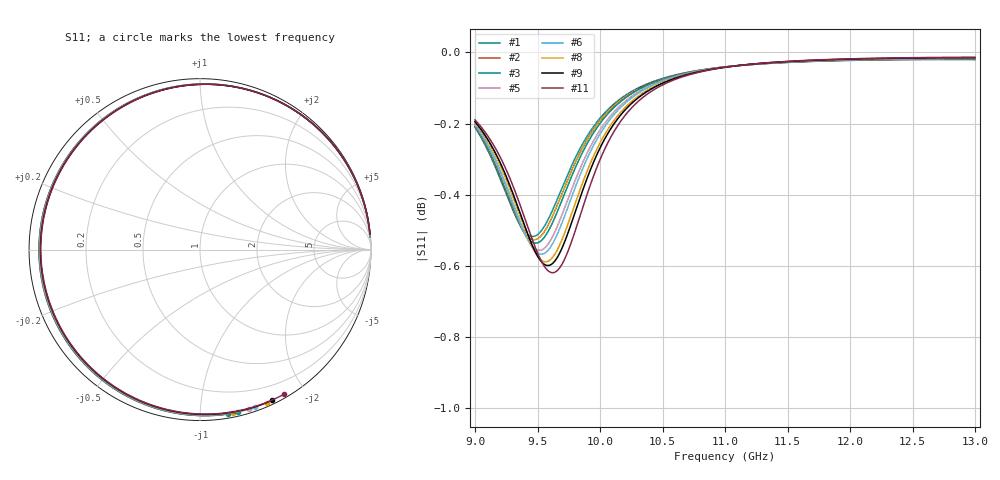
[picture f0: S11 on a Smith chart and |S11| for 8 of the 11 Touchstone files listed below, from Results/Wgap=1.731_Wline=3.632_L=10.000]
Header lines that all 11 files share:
! TOUCHSTONE file generated by CST DESIGN STUDIO
! Project name: C:\Work\MatlabApps\UnitCellOptimizationMatlab\CST\unitcell.cst
! Tree item: Tasks\Sweep1\SPara1\S-Parameters
! Header version: 2024
! Port assignment regex: !\s*Touchstone port\s*([0-9]+)\s*=\s*(CST MWS port|CST DES external port|CST DES block port)\s*(.+)\s* \(\"(.*)\"\)(\s*mode\s*([0-9]+))?.*
! Touchstone port assignment:
! Touchstone port 1 = CST DES external port 1 ("")
# GHz S MA R 50
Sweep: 9 GHz to 13 GHz
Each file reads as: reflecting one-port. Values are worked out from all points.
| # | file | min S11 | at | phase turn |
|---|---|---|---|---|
| 1 | DS_for_MWS-run-0001.s1p | -0.5 dB | 9.461 GHz | -275 deg |
| 2 | DS_for_MWS-run-0002.s1p | -0.5 dB | 9.473 GHz | -277 deg |
| 3 | DS_for_MWS-run-0003.s1p | -0.5 dB | 9.486 GHz | -279 deg |
| 4 | DS_for_MWS-run-0004.s1p | -0.5 dB | 9.5 GHz | -280 deg |
| 5 | DS_for_MWS-run-0005.s1p | -0.6 dB | 9.515 GHz | -282 deg |
| 6 | DS_for_MWS-run-0006.s1p | -0.6 dB | 9.531 GHz | -284 deg |
| 7 | DS_for_MWS-run-0007.s1p | -0.6 dB | 9.547 GHz | -286 deg |
| 8 | DS_for_MWS-run-0008.s1p | -0.6 dB | 9.565 GHz | -288 deg |
| 9 | DS_for_MWS-run-0009.s1p | -0.6 dB | 9.583 GHz | -290 deg |
| 10 | DS_for_MWS-run-0010.s1p | -0.6 dB | 9.601 GHz | -293 deg |
| 11 | DS_for_MWS-run-0011.s1p | -0.6 dB | 9.621 GHz | -295 deg |
